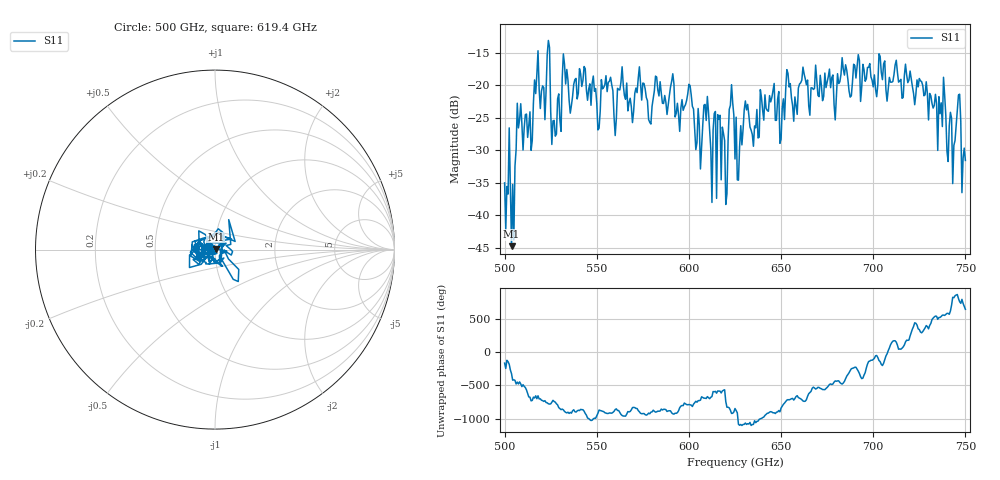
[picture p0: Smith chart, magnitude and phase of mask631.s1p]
!Created with skrf (http://scikit-rf.org).
# GHz S MA R 50.0
!freq magS11 angS11
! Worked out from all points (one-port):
!   401 points, 500 GHz to 750 GHz, reference 50 ohm
!   lowest |S11| = -44.7 dB at 503.8 GHz (marker M1), VSWR 1.01, Z = 50.5 + j0.349 ohm
!   |S11| at or under -10 dB: start of sweep to end of sweep
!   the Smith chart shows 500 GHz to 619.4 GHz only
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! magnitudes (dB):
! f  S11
! 500 GHz  -35.0
! 503.8 GHz  -44.7
! 505 GHz  -43.8
! 507.5 GHz  -26.6
! 513.8 GHz  -24.1
! 517.5 GHz  -18.3
! 520.6 GHz  -20.1
! 523.8 GHz  -13.2
! 526.9 GHz  -25.4
! 531.2 GHz  -19.0
! 542.5 GHz  -19.3
! 550.6 GHz  -26.9
! 562.5 GHz  -20.7
! 578.8 GHz  -25.7
! 590.6 GHz  -19.4
! 593.8 GHz  -22.8
! 600.6 GHz  -20.1
! 605 GHz  -23.6
! 609.4 GHz  -25.4
! 620 GHz  -38.3
! 623.1 GHz  -19.9
! 625 GHz  -31.3
! 656.2 GHz  -23.1
! 687.5 GHz  -21.8
! 718.8 GHz  -19.6
! 743.8 GHz  -29.3
! 746.2 GHz  -21.5
! 750 GHz  -31.6
